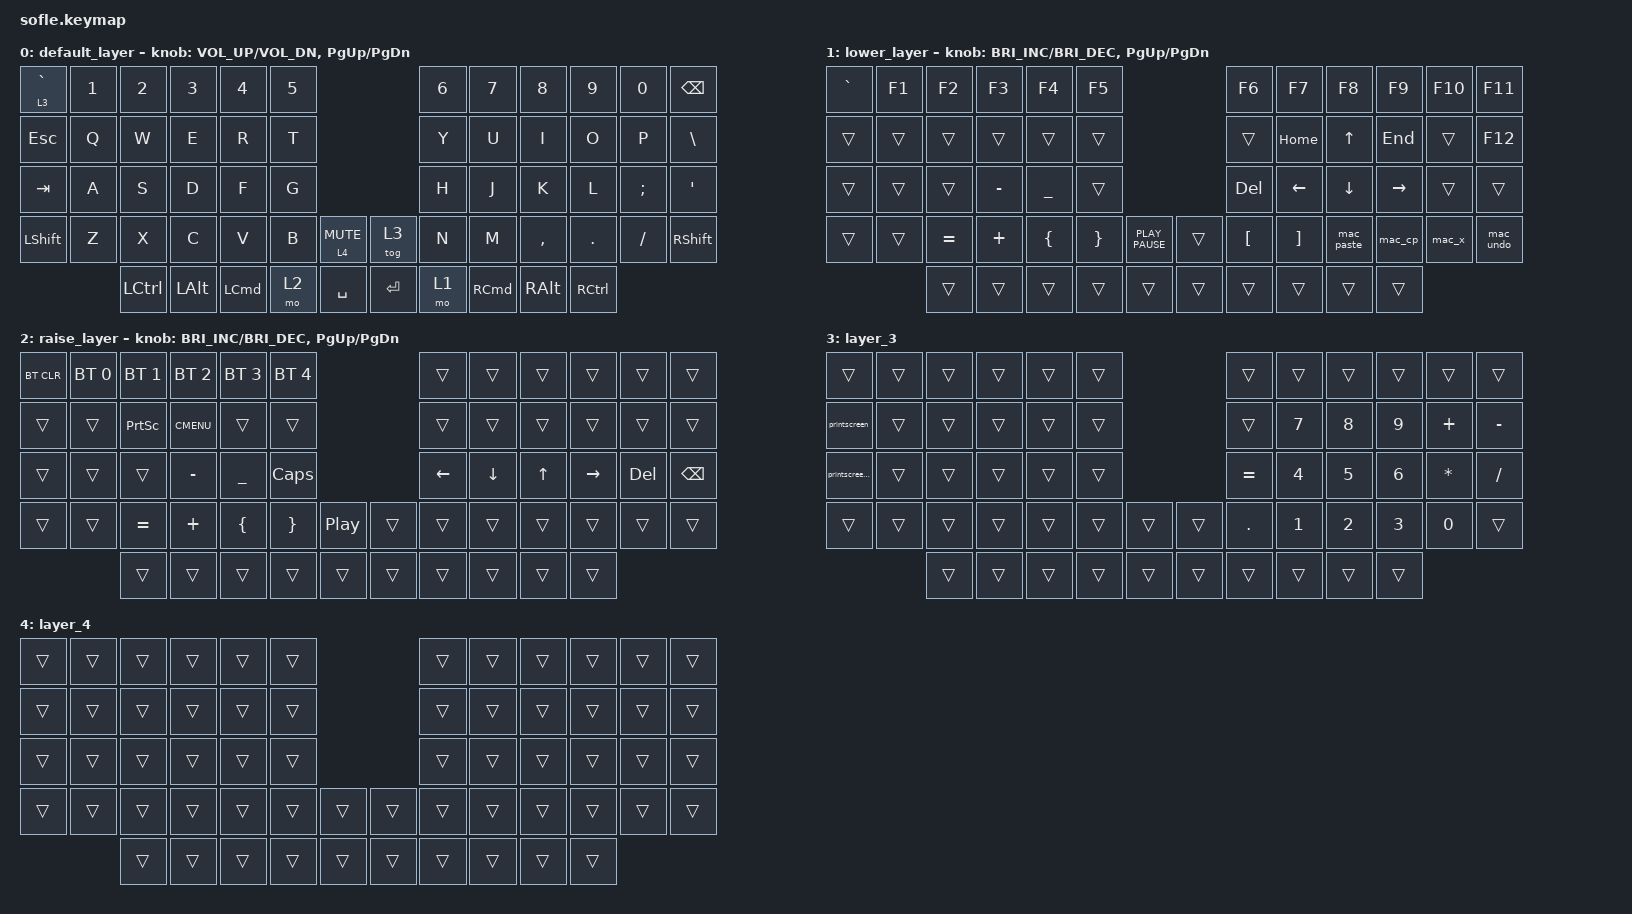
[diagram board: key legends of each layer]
/*
 * Copyright (c) 2020 The ZMK Contributors
 *
 * SPDX-License-Identifier: MIT
 */

#include <behaviors.dtsi>
#include <dt-bindings/zmk/bt.h>
#include <dt-bindings/zmk/keys.h>

/ {
    macros {
        printscreen: printscreen {
            compatible = "zmk,behavior-macro";
            #binding-cells = <0>;
            bindings = <&kp LS(LC(LG(NUMBER_4)))>;
            label = "PRINTSCREEN";
        };

        printscreensave: printscreensave {
            compatible = "zmk,behavior-macro";
            #binding-cells = <0>;
            bindings = <&kp LS(LG(NUMBER_4))>;
            label = "PRINTSCREENSAVE";
        };

        mac_cp: mac_cp {
            compatible = "zmk,behavior-macro";
            #binding-cells = <0>;
            bindings = <&kp RG(C)>;
            label = "MAC_CP";
        };

        mac_paste: mac_paste {
            compatible = "zmk,behavior-macro";
            #binding-cells = <0>;
            bindings = <&kp RG(V)>;
            label = "MAC_PASTE";
        };

        mac_undo: mac_undo {
            compatible = "zmk,behavior-macro";
            #binding-cells = <0>;
            bindings = <&kp RG(Z)>;
            label = "MAC_UNDO";
        };

        mac_x: mac_x {
            compatible = "zmk,behavior-macro";
            #binding-cells = <0>;
            bindings = <&kp RG(X)>;
            label = "MAC_X";
        };
    };

    keymap {
        compatible = "zmk,keymap";

        default_layer {
            // ------------------------------------------------------------------------------------------------------------
            // |  `    |  1  |  2  |  3   |  4   |  5   |                   |  6   |  7    |  8    |  9   |   0   |       |
            // |  ESC  |  Q  |  W  |  E   |  R   |  T   |                   |  Y   |  U    |  I    |  O   |   P   | BKSPC |
            // |  TAB  |  A  |  S  |  D   |  F   |  G   |                   |  H   |  J    |  K    |  L   |   ;   |   '   |
            // | SHIFT |  Z  |  X  |  C   |  V   |  B   |  MUTE  |  |       |  N   |  M    |  ,    |  .   |   /   | SHIFT |
            //               | GUI | ALT  | CTRL | LOWER|  ENTER |  | SPACE | RAISE| CTRL  | ALT   | GUI  |

            bindings = <
&lt 3 GRAVE  &kp N1  &kp N2     &kp N3    &kp N4    &kp N5                             &kp N6  &kp N7    &kp N8     &kp N9     &kp N0    &kp BACKSPACE
&kp ESC      &kp Q   &kp W      &kp E     &kp R     &kp T                              &kp Y   &kp U     &kp I      &kp O      &kp P     &kp BACKSLASH
&kp TAB      &kp A   &kp S      &kp D     &kp F     &kp G                              &kp H   &kp J     &kp K      &kp L      &kp SEMI  &kp SQT
&kp LSHFT    &kp Z   &kp X      &kp C     &kp V     &kp B   &lt 4 C_MUTE    &tog 3     &kp N   &kp M     &kp COMMA  &kp DOT    &kp FSLH  &kp RSHFT
                     &kp LCTRL  &kp LALT  &kp LCMD  &mo 2   &kp SPACE       &kp ENTER  &mo 1   &kp RCMD  &kp RALT   &kp RCTRL
            >;

            sensor-bindings =
                <&inc_dec_kp C_VOL_UP C_VOL_DN>,
                <&inc_dec_kp PAGE_UP PAGE_DOWN>;
        };

        lower_layer {
            // TODO: Some binds are waiting for shifted keycode support.
            // ------------------------------------------------------------------------------------------------------------
            // | `     |  F1 |  F2 |  F3  |  F4  |  F5  |                   |  F6  |  F7   |  F8   |  F9  |  F10  |  F11  |
            // | RAISE |   1 |   2 |   3  |   4  |   5  |                   |   6  |   7   |   8   |   9  |    0  |  F12  |
            // |       |  !  |  @  |  #   |  $   |  %   |                   |  ^   |  &    |  *    |  (   |   )   |   |   |
            // |       |  =  |  -  |  +   |  {   |  }   |        |  |       |  [   |  ]    |  ;    |  :   |   \   |       |
            //               |     |      |      |      |        |  |       |      |       |       |      |

            bindings = <
&kp GRAVE  &kp F1  &kp F2     &kp F3     &kp F4          &kp F5                                &kp F6    &kp F7          &kp F8          &kp F9           &kp F10  &kp F11
&trans     &trans  &trans     &trans     &trans          &trans                                &trans    &kp HOME        &kp UP_ARROW    &kp END          &trans   &kp F12
&trans     &trans  &trans     &kp MINUS  &kp UNDERSCORE  &trans                                &kp DEL   &kp LEFT_ARROW  &kp DOWN_ARROW  &kp RIGHT_ARROW  &trans   &trans
&trans     &trans  &kp EQUAL  &kp PLUS   &kp LBRC        &kp RBRC  &kp K_PLAY_PAUSE    &trans  &kp LBKT  &kp RBKT        &mac_paste      &mac_cp          &mac_x   &mac_undo
                   &trans     &trans     &trans          &trans    &trans              &trans  &trans    &trans          &trans          &trans
            >;

            sensor-bindings =
                <&inc_dec_kp C_BRIGHTNESS_INC C_BRIGHTNESS_DEC>,
                <&inc_dec_kp PG_UP PG_DN>;
        };

        raise_layer {
            // ------------------------------------------------------------------------------------------------------------
            // |BTCLR| BT1  | BT2  |  BT3  |  BT4  |  BT5 |                |      |      |       |      |       |       |
            // |     | INS  | PSCR | GUI   |       |      |                | PGUP |      |       |      |       |       |
            // |     | ALT  | CTRL | SHIFT |       | CAPS |                |  <-  |   v  |   ^   |  ->  |  DEL  | BKSPC |
            // |     | UNDO | CUT  | COPY  | PASTE |      |      |  |      |      |      |       |      |       |       |
            //              |      |       |       |      |      |  |      |      |      |       |      |

            bindings = <
&bt BT_CLR  &bt BT_SEL 0  &bt BT_SEL 1  &bt BT_SEL 2  &bt BT_SEL 3    &bt BT_SEL 4                              &trans    &trans    &trans  &trans     &trans   &trans
&trans      &trans        &kp PSCRN     &kp K_CMENU   &trans          &trans                                    &trans    &trans    &trans  &trans     &trans   &trans
&trans      &trans        &trans        &kp MINUS     &kp UNDERSCORE  &kp CLCK                                  &kp LEFT  &kp DOWN  &kp UP  &kp RIGHT  &kp DEL  &kp BSPC
&trans      &trans        &kp EQUAL     &kp PLUS      &kp LEFT_BRACE  &kp RBRC      &kp C_PLAY_PAUSE    &trans  &trans    &trans    &trans  &trans     &trans   &trans
                          &trans        &trans        &trans          &trans        &trans              &trans  &trans    &trans    &trans  &trans
            >;

            sensor-bindings =
                <&inc_dec_kp C_BRIGHTNESS_INC C_BRIGHTNESS_DEC>,
                <&inc_dec_kp PG_UP PG_DN>;
        };

        layer_3 {
            bindings = <
&trans            &trans  &trans  &trans  &trans  &trans                    &trans      &trans        &trans        &trans        &trans        &trans
&printscreen      &trans  &trans  &trans  &trans  &trans                    &trans      &kp NUMBER_7  &kp NUMBER_8  &kp NUMBER_9  &kp PLUS      &kp MINUS
&printscreensave  &trans  &trans  &trans  &trans  &trans                    &kp EQUAL   &kp NUMBER_4  &kp NUMBER_5  &kp NUMBER_6  &kp ASTERISK  &kp SLASH
&trans            &trans  &trans  &trans  &trans  &trans  &trans    &trans  &kp PERIOD  &kp NUMBER_1  &kp NUMBER_2  &kp NUMBER_3  &kp NUMBER_0  &trans
                          &trans  &trans  &trans  &trans  &trans    &trans  &trans      &trans        &trans        &trans
            >;
        };

        layer_4 {
            bindings = <
&trans  &trans  &trans  &trans  &trans  &trans                    &trans  &trans  &trans  &trans  &trans  &trans
&trans  &trans  &trans  &trans  &trans  &trans                    &trans  &trans  &trans  &trans  &trans  &trans
&trans  &trans  &trans  &trans  &trans  &trans                    &trans  &trans  &trans  &trans  &trans  &trans
&trans  &trans  &trans  &trans  &trans  &trans  &trans    &trans  &trans  &trans  &trans  &trans  &trans  &trans
                &trans  &trans  &trans  &trans  &trans    &trans  &trans  &trans  &trans  &trans
            >;
        };
    };
};
